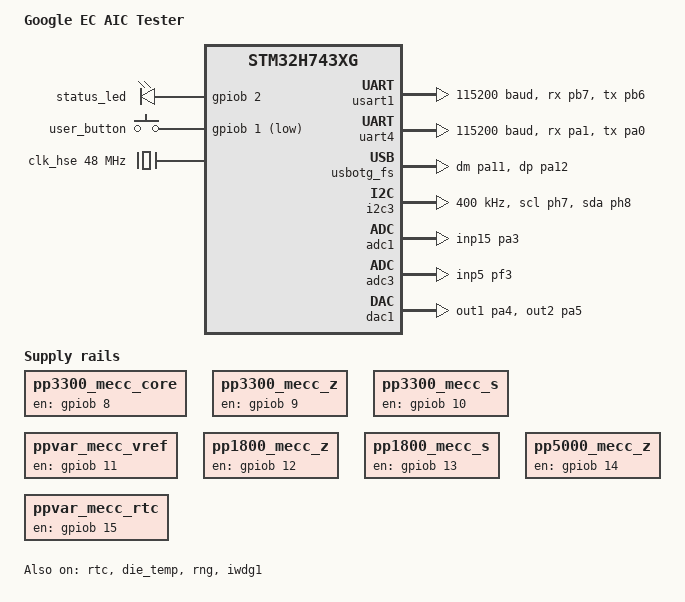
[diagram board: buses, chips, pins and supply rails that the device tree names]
/* Copyright 2024 The ChromiumOS Authors
 * Use of this source code is governed by a BSD-style license that can be
 * found in the LICENSE file.
 */

/dts-v1/;
#include <st/h7/stm32h743Xg.dtsi>
#include <st/h7/stm32h743bgtx-pinctrl.dtsi>
#include <zephyr/dt-bindings/input/input-event-codes.h>

/ {
	model = "Google EC AIC Tester";
	compatible = "google,ec-aic-tester";

	chosen {
		/* change to &usart1 to move the shell to J3/J4 */
		zephyr,console = &cdc_acm_uart_shell;
		zephyr,shell-uart = &cdc_acm_uart_shell;
		zephyr,sram = &sram0;
		zephyr,flash = &flash0;
		zephyr,dtcm = &dtcm;
	};

	leds {
		compatible = "gpio-leds";
		status_led: mcu_pb02 {
			gpios = <&gpiob 2 GPIO_ACTIVE_HIGH>;
		};
	};

	gpio_keys {
		compatible = "gpio-keys";
		user_button: mcu_pb01 {
			gpios = <&gpiob 1 GPIO_ACTIVE_LOW>;
			zephyr,code = <INPUT_KEY_0>;
		};
	};

	aliases {
		led0 = &status_led;
		sw0 = &user_button;
		watchdog0 = &iwdg;
		die-temp0 = &die_temp;
	};

	uart_bridge: uart-bridge {
		compatible = "zephyr,uart-bridge";
		usb {
			device = <&cdc_acm_uart_ec>;
			transfer-size = <64>;
		};
		uart {
			device = <&uart4>;
			transfer-size = <1>;
		};
	};

	pp3300_mecc_core: pp3300_mecc_core {
		compatible = "regulator-fixed";
		regulator-name = "pp3300_mecc_core";
		enable-gpios = <&gpiob 8 GPIO_ACTIVE_HIGH>;
	};

	pp3300_mecc_z: pp3300_mecc_z {
		compatible = "regulator-fixed";
		regulator-name = "pp3300_mecc_z";
		enable-gpios = <&gpiob 9 GPIO_ACTIVE_HIGH>;
	};

	pp3300_mecc_s: pp3300_mecc_s {
		compatible = "regulator-fixed";
		regulator-name = "pp3300_mecc_s";
		enable-gpios = <&gpiob 10 GPIO_ACTIVE_HIGH>;
	};

	ppvar_mecc_vref: ppvar_mecc_vref {
		compatible = "regulator-fixed";
		regulator-name = "ppvar_mecc_vref";
		enable-gpios = <&gpiob 11 GPIO_ACTIVE_HIGH>;
	};

	pp1800_mecc_z: pp1800_mecc_z {
		compatible = "regulator-fixed";
		regulator-name = "pp1800_mecc_z";
		enable-gpios = <&gpiob 12 GPIO_ACTIVE_HIGH>;
	};

	pp1800_mecc_s: pp1800_mecc_s {
		compatible = "regulator-fixed";
		regulator-name = "pp1800_mecc_s";
		enable-gpios = <&gpiob 13 GPIO_ACTIVE_HIGH>;
	};

	pp5000_mecc_z: pp5000_mecc_z {
		compatible = "regulator-fixed";
		regulator-name = "pp5000_mecc_z";
		enable-gpios = <&gpiob 14 GPIO_ACTIVE_HIGH>;
	};

	ppvar_mecc_rtc: ppvar_mecc_rtc {
		compatible = "regulator-fixed";
		regulator-name = "ppvar_mecc_rtc";
		enable-gpios = <&gpiob 15 GPIO_ACTIVE_HIGH>;
	};
};

&clk_lsi {
	status = "okay";
};

&clk_hsi48 {
	status = "okay";
};

&clk_hse {
	clock-frequency = <DT_FREQ_M(48)>;
	status = "okay";
};

&pll {
	div-m = <12>;
	mul-n = <240>;
	div-p = <2>;
	div-q = <2>;
	div-r = <2>;
	clocks = <&clk_hse>;
	status = "okay";
};

&pll2 {
	div-m = <24>;
	mul-n = <120>;
	div-p = <2>;
	div-q = <3>;
	div-r = <2>;
	clocks = <&clk_hse>;
	status = "okay";
};

&rcc {
	clocks = <&pll>;
	clock-frequency = <DT_FREQ_M(480)>;
	d1cpre = <1>;
	hpre = <2>;
	d1ppre = <2>;
	d2ppre1 = <2>;
	d2ppre2 = <2>;
	d3ppre = <2>;
};

/* Debug UART, J3/J4 */
&usart1 {
	pinctrl-0 = <&usart1_rx_pb7 &usart1_tx_pb6>;
	pinctrl-names = "default";
	current-speed = <115200>;
	status = "okay";
};

/* EC UART */
&uart4 {
	pinctrl-0 = <&uart4_rx_pa1 &uart4_tx_pa0>;
	pinctrl-names = "default";
	current-speed = <115200>;
	status = "okay";
};

zephyr_udc0: &usbotg_fs {
	pinctrl-0 = <&usb_otg_fs_dm_pa11 &usb_otg_fs_dp_pa12>;
	pinctrl-names = "default";
	status = "okay";

	cdc_acm_uart_shell: cdc_acm_uart_shell {
		compatible = "zephyr,cdc-acm-uart";
	};
	cdc_acm_uart_ec: cdc_acm_uart_ec {
		compatible = "zephyr,cdc-acm-uart";
	};
};

&rtc {
	clocks = <&rcc STM32_CLOCK_BUS_APB4 0x00010000>,
		 <&rcc STM32_SRC_LSI RTC_SEL(2)>;
	status = "okay";
};

&i2c3 {
	pinctrl-0 = <&i2c3_scl_ph7 &i2c3_sda_ph8>;
	pinctrl-names = "default";
	status = "okay";
	clock-frequency = <I2C_BITRATE_FAST>;
};

&adc1 {
	pinctrl-0 = <&adc1_inp15_pa3>;
	pinctrl-names = "default";
	st,adc-clock-source = "SYNC";
	st,adc-prescaler = <4>;
	status = "okay";
};

&die_temp {
	status = "okay";
};

&adc3 {
	pinctrl-0 = <&adc3_inp5_pf3>;
	pinctrl-names = "default";
	st,adc-clock-source = "SYNC";
	st,adc-prescaler = <4>;
	status = "okay";
};

&dac1 {
	status = "okay";
	pinctrl-0 = <&dac1_out1_pa4 &dac1_out2_pa5>;
	pinctrl-names = "default";
};

&rng {
	status = "okay";
};

&backup_sram {
	status = "okay";
};

&iwdg1 {
	status = "okay";
};
